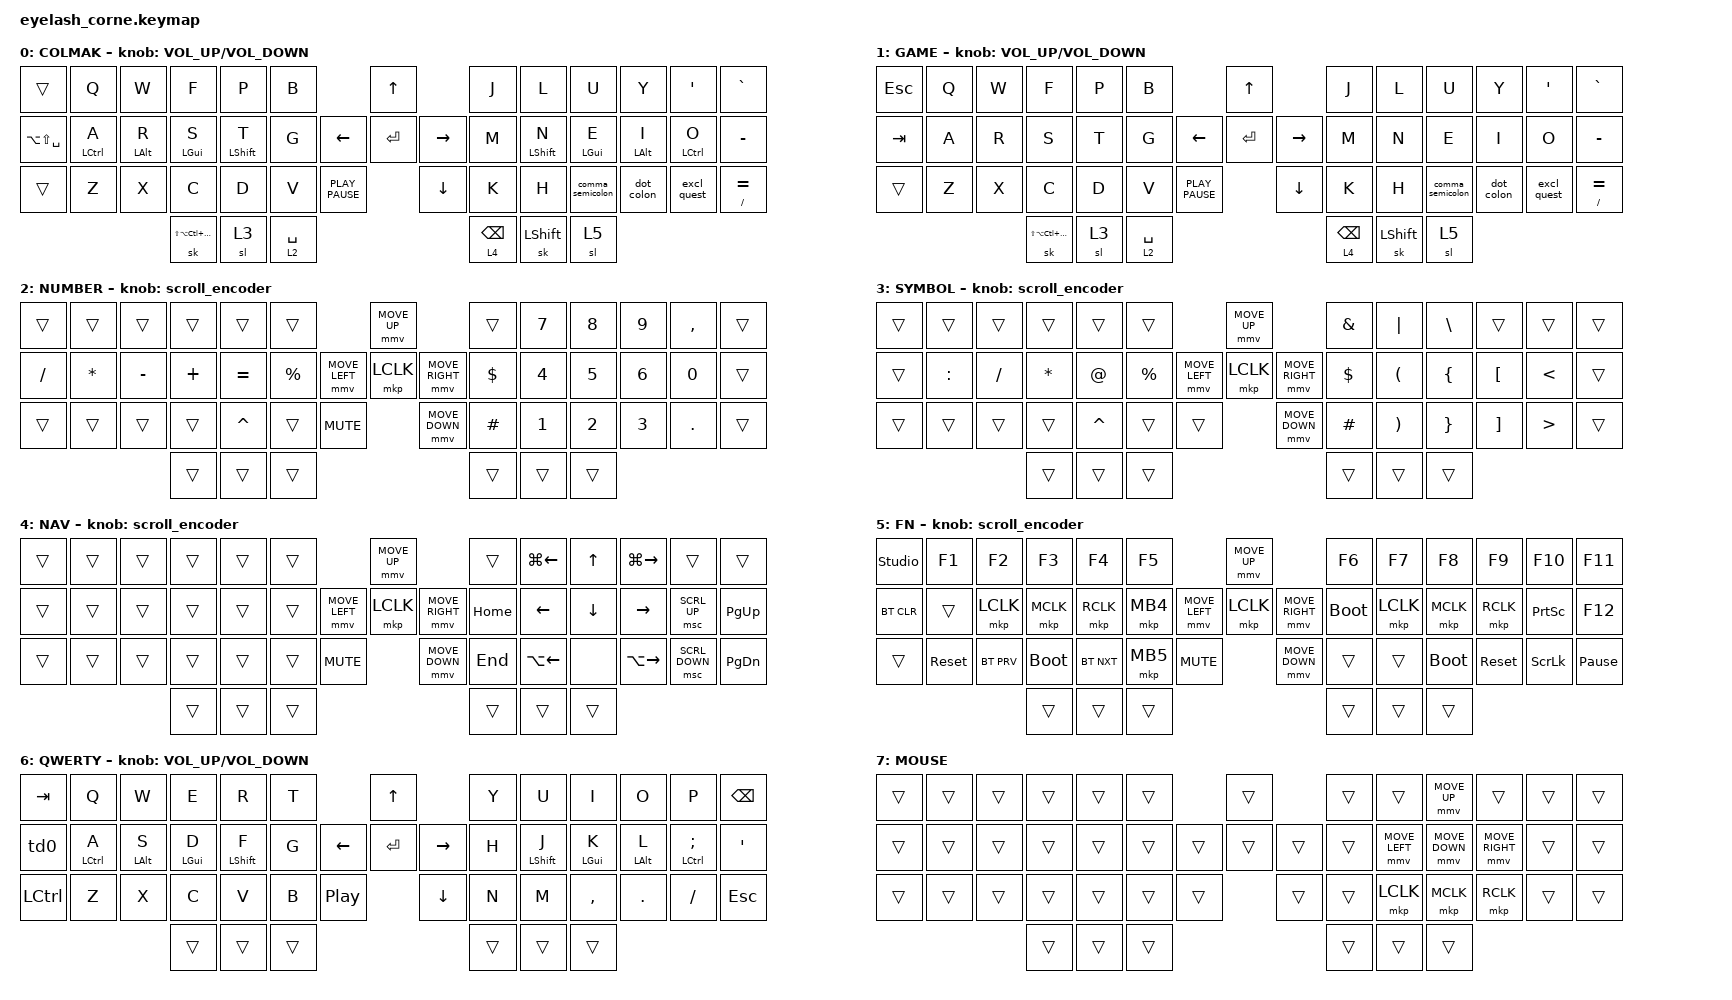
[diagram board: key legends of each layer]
#define ZMK_POINTING_DEFAULT_MOVE_VAL 1500  // default: 600
#define ZMK_POINTING_DEFAULT_SCRL_VAL 20    // default: 10

#include <input/processors.dtsi>
#include <behaviors.dtsi>
#include <dt-bindings/zmk/keys.h>
#include <dt-bindings/zmk/pointing.h>
#include <dt-bindings/zmk/rgb.h>
#include <dt-bindings/zmk/bt.h>

/*

   &mmv_input_listener {
       input-processors = <&zip_xy_scaler 2 1>;
   };

   &msc_input_listener {
       input-processors = <&zip_xy_scaler 2 1>;
   };

 */

/ {
    behaviors {
        td0: td0 {
            compatible = "zmk,behavior-tap-dance";
            display-name = "Shift/Caps Lock Tap Dance";
            #binding-cells = <0>;
            bindings = <&kp LEFT_SHIFT>, <&kp CAPS>;
        };

        hm: homerow_mods {
            compatible = "zmk,behavior-hold-tap";
            #binding-cells = <2>;
            tapping-term-ms = <280>;
            quick-tap-ms = <175>;
            require-prior-idle-ms = <150>;
            flavor = "balanced";
            bindings = <&kp>, <&kp>;
        };

        comma_semicolon: comma_semicolon {
            compatible = "zmk,behavior-mod-morph";
            #binding-cells = <0>;
            bindings = <&kp COMMA>, <&kp SEMI>;

            mods = <(MOD_LSFT)>;
        };

        dot_colon: dot_colon {
            compatible = "zmk,behavior-mod-morph";
            #binding-cells = <0>;
            bindings = <&kp DOT>, <&kp LS(SEMI)>;

            mods = <(MOD_LSFT)>;
        };

        excl_quest: excl_quest {
            compatible = "zmk,behavior-mod-morph";
            #binding-cells = <0>;
            bindings = <&kp LS(FSLH)>, <&kp LS(N1)>;

            mods = <(MOD_LSFT)>;
        };
    };

    combos {
        compatible = "zmk,combos";

        combo_cut {
            timeout-ms = <50>;
            key-positions = <30 32>;
            layers = <0 2 3 4 5 6 7>;
            bindings = <&kp LG(X)>;
        };

        combo_copy {
            timeout-ms = <50>;
            key-positions = <30 31>;
            layers = <0 2 3 4 5 6 7>;
            bindings = <&kp LG(C)>;
        };

        combo_paste {
            timeout-ms = <50>;
            key-positions = <31 32>;
            layers = <0 2 3 4 5 6 7>;
            bindings = <&kp LG(V)>;
        };

        combo_undo {
            timeout-ms = <50>;
            key-positions = <3 4>;
            layers = <0 2 3 4 5 6 7>;
            bindings = <&kp LG(Z)>;
        };

        combo_redo {
            bindings = <&kp LS(LG(Z))>;
            key-positions = <2 3>;
            layers = <0 2 3 4 5 6 7>;
        };

        combo_delete {
            timeout-ms = <50>;
            key-positions = <9 10>;
            layers = <0 2 3 4 5 6 7>;
            bindings = <&kp DEL>;
        };

        combo_escape {
            timeout-ms = <50>;
            key-positions = <8 10>;
            layers = <0 2 3 4 5 6 7>;
            bindings = <&kp ESC>;
        };

        combo_enter {
            timeout-ms = <50>;
            key-positions = <37 38>;
            layers = <0 2 3 4 5 6 7>;
            bindings = <&kp ENTER>;
        };

        combo_tab {
            timeout-ms = <50>;
            key-positions = <38 39>;
            layers = <0 2 3 4 5 6 7>;
            bindings = <&kp TAB>;
        };

        combo_cmd_enter {
            bindings = <&kp LG(ENTER)>;
            key-positions = <37 39>;
            layers = <0 2 3 4 5 6 7>;
        };

        combo_escape_2 {
            bindings = <&kp ESCAPE>;
            key-positions = <44 45>;
            layers = <0 2 3 4 5 6 7>;
        };

        vim_command {
            bindings = <&vim_command>;
            key-positions = <17 23>;
            layers = <0 2 3 4 5 6 7>;
        };

        combo_game {
            timeout-ms = <50>;
            key-positions = <43 47>;
            bindings = <&tog 1>;
        };
    };

    rgb_encoder: rgb_encoder {
        compatible = "zmk,behavior-sensor-rotate";
        #sensor-binding-cells = <0>;
        bindings = <&rgb_ug RGB_BRI>, <&rgb_ug RGB_BRD>;
    };

    scroll_encoder: scroll_encoder {
        compatible = "zmk,behavior-sensor-rotate";
        #sensor-binding-cells = <0>;
        bindings = <&msc SCRL_DOWN>, <&msc SCRL_UP>;

        tap-ms = <30>;
    };

    macros {
        vim_command: vim_command {
            compatible = "zmk,behavior-macro";
            #binding-cells = <0>;
            bindings = <&kp ESCAPE &kp COLON>;
            label = "VIM_COMMAND";
        };
    };

    keymap {
        compatible = "zmk,keymap";

        default_layer {
            display-name = "COLMAK";
            bindings = <
&trans             &kp Q        &kp W       &kp F                           &kp P         &kp B                                      &kp UP                &kp J            &kp L           &kp U             &kp Y       &kp SINGLE_QUOTE  &kp GRAVE
&kp LA(LS(SPACE))  &hm LCTRL A  &hm LALT R  &hm LGUI S                      &hm LSHIFT T  &kp G                            &kp LEFT  &kp ENTER  &kp RIGHT  &kp M            &hm LSHIFT N    &hm LGUI E        &hm LALT I  &hm LCTRL O       &kp MINUS
&trans             &kp Z        &kp X       &kp C                           &kp D         &kp V        &kp K_PLAY_PAUSE              &kp DOWN              &kp K            &kp H           &comma_semicolon  &dot_colon  &excl_quest       &mt SLASH EQUAL
                                            &sk LS(LA(LC(LG(LEFT_SHIFT))))  &sl 3         &lt 2 SPACE                                                      &lt 4 BACKSPACE  &sk LEFT_SHIFT  &sl 5
            >;

            sensor-bindings = <&inc_dec_kp C_VOLUME_UP C_VOLUME_DOWN>;
        };

        layer_game {
            display-name = "GAME";
            bindings = <
&kp ESC            &kp Q        &kp W       &kp F                           &kp P         &kp B                                      &kp UP                &kp J            &kp L           &kp U             &kp Y       &kp SINGLE_QUOTE  &kp GRAVE
&kp TAB            &kp A        &kp R       &kp S                           &kp T         &kp G                            &kp LEFT  &kp ENTER  &kp RIGHT  &kp M            &kp N           &kp E             &kp I       &kp O             &kp MINUS
&trans             &kp Z        &kp X       &kp C                           &kp D         &kp V        &kp K_PLAY_PAUSE              &kp DOWN              &kp K            &kp H           &comma_semicolon  &dot_colon  &excl_quest       &mt SLASH EQUAL
                                            &sk LS(LA(LC(LG(LEFT_SHIFT))))  &sl 3         &lt 2 SPACE                                                      &lt 4 BACKSPACE  &sk LEFT_SHIFT  &sl 5
            >;

            sensor-bindings = <&inc_dec_kp C_VOLUME_UP C_VOLUME_DOWN>;
        };

        layer_num {
            display-name = "NUMBER";
            bindings = <
&trans     &trans    &trans     &trans    &trans     &trans                                     &mmv MOVE_UP                     &trans      &kp N7  &kp N8  &kp N9  &kp COMMA   &trans
&kp SLASH  &kp STAR  &kp MINUS  &kp PLUS  &kp EQUAL  &kp PERCENT                &mmv MOVE_LEFT  &mkp LCLK       &mmv MOVE_RIGHT  &kp DOLLAR  &kp N4  &kp N5  &kp N6  &kp N0      &trans
&trans     &trans    &trans     &trans    &kp CARET  &trans       &kp C_MUTE                    &mmv MOVE_DOWN                   &kp HASH    &kp N1  &kp N2  &kp N3  &kp PERIOD  &trans
                                &trans    &trans     &trans                                                                      &trans      &trans  &trans
            >;

            sensor-bindings = <&scroll_encoder>;
        };

        layer_sym {
            display-name = "SYMBOL";
            bindings = <
&trans  &trans     &trans     &trans     &trans     &trans                                 &mmv MOVE_UP                     &kp AMPS    &kp PIPE               &kp BACKSLASH    &trans             &trans            &trans
&trans  &kp COLON  &kp SLASH  &kp ASTRK  &kp AT     &kp PERCENT            &mmv MOVE_LEFT  &mkp LCLK       &mmv MOVE_RIGHT  &kp DOLLAR  &kp LEFT_PARENTHESIS   &kp LEFT_BRACE   &kp LEFT_BRACKET   &kp LESS_THAN     &trans
&trans  &trans     &trans     &trans     &kp CARET  &trans       &trans                    &mmv MOVE_DOWN                   &kp HASH    &kp RIGHT_PARENTHESIS  &kp RIGHT_BRACE  &kp RIGHT_BRACKET  &kp GREATER_THAN  &trans
                              &trans     &trans     &trans                                                                  &trans      &trans                 &trans
            >;

            sensor-bindings = <&scroll_encoder>;
        };

        layer_nav {
            display-name = "NAV";
            bindings = <
&trans  &trans  &trans  &trans  &trans  &trans                                &mmv MOVE_UP                     &trans    &kp LG(LEFT_ARROW)  &kp UP_ARROW  &kp LG(RIGHT)  &trans          &trans
&trans  &trans  &trans  &trans  &trans  &trans                &mmv MOVE_LEFT  &mkp LCLK       &mmv MOVE_RIGHT  &kp HOME  &kp LEFT            &kp DOWN      &kp RIGHT      &msc SCRL_UP    &kp PG_UP
&trans  &trans  &trans  &trans  &trans  &trans  &kp K_MUTE                    &mmv MOVE_DOWN                   &kp END   &kp LA(LEFT)        &none         &kp LA(RIGHT)  &msc SCRL_DOWN  &kp PG_DN
                        &trans  &trans  &trans                                                                 &trans    &trans              &trans
            >;

            sensor-bindings = <&scroll_encoder>;
        };

        layer_fn {
            display-name = "FN";
            bindings = <
&studio_unlock  &kp F1      &kp F2     &kp F3       &kp F4     &kp F5                                  &mmv MOVE_UP                     &kp F6       &kp F7     &kp F8       &kp F9      &kp F10          &kp F11
&bt BT_CLR      &trans      &mkp LCLK  &mkp MCLK    &mkp RCLK  &mkp MB4                &mmv MOVE_LEFT  &mkp LCLK       &mmv MOVE_RIGHT  &bootloader  &mkp LCLK  &mkp MCLK    &mkp RCLK   &kp PRINTSCREEN  &kp F12
&trans          &sys_reset  &bt BT_PRV &bootloader  &bt BT_NXT &mkp MB5  &kp C_MUTE                    &mmv MOVE_DOWN                   &trans       &trans     &bootloader  &sys_reset  &kp SCROLLLOCK   &kp PAUSE_BREAK
                                       &trans       &trans     &trans                                                                   &trans       &trans     &trans
            >;

            sensor-bindings = <&scroll_encoder>;
        };

        layer_qwerty {
            display-name = "QWERTY";
            bindings = <
&kp TAB    &kp Q        &kp W       &kp E       &kp R         &kp T                                 &kp UP                &kp Y   &kp U         &kp I       &kp O       &kp P           &kp BSPC
&td0       &hm LCTRL A  &hm LALT S  &hm LGUI D  &hm LSHIFT F  &kp G                       &kp LEFT  &kp ENTER  &kp RIGHT  &kp H   &hm LSHIFT J  &hm LGUI K  &hm LALT L  &hm LCTRL SEMI  &kp SQT
&kp LCTRL  &kp Z        &kp X       &kp C       &kp V         &kp B   &kp C_PLAY_PAUSE              &kp DOWN              &kp N   &kp M         &kp COMMA   &kp DOT     &kp FSLH        &kp ESC
                                    &trans      &trans        &trans                                                      &trans  &trans        &trans
            >;

            sensor-bindings = <&inc_dec_kp C_VOLUME_UP C_VOLUME_DOWN>;
        };

        layer_mouse {
            bindings = <
&trans  &trans  &trans  &trans  &trans  &trans                    &trans          &trans  &trans          &mmv MOVE_UP    &trans           &trans  &trans
&trans  &trans  &trans  &trans  &trans  &trans            &trans  &trans  &trans  &trans  &mmv MOVE_LEFT  &mmv MOVE_DOWN  &mmv MOVE_RIGHT  &trans  &trans
&trans  &trans  &trans  &trans  &trans  &trans  &trans            &trans          &trans  &mkp LCLK       &mkp MCLK       &mkp RCLK        &trans  &trans
                        &trans  &trans  &trans                                    &trans  &trans          &trans
            >;

            label = "MOUSE";
        };
    };

    conditional_layers {
        compatible = "zmk,conditional-layers";

        Mouse {
            if-layers = <2 4>;
            then-layer = <7>;
        };
    };
};
